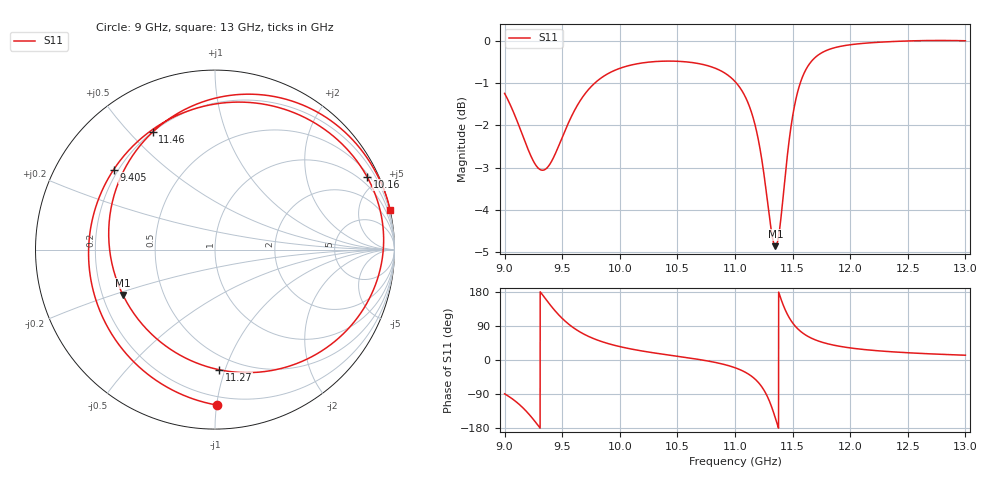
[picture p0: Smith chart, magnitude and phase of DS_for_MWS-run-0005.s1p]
! TOUCHSTONE file generated by CST DESIGN STUDIO
! Date and time: Tue Feb  4 18:32:30 2025
! Project name: C:\Work\MatlabApps\UnitCellOptimizationMatlab\CST\unitcell.cst
! Tree item: Tasks\Sweep1\SPara1\S-Parameters
! Header version: 2024
! Port assignment regex: !\s*Touchstone port\s*([0-9]+)\s*=\s*(CST MWS port|CST DES external port|CST DES block port)\s*(.+)\s* \(\"(.*)\"\)(\s*mode\s*([0-9]+))?.*
! Touchstone port assignment:
! Touchstone port 1 = CST DES external port 1 ("")
# GHz S MA R 50
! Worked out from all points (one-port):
!   4001 points, 9 GHz to 13 GHz, reference 50 ohm
!   lowest |S11| = -4.9 dB at 11.35 GHz (marker M1), VSWR 3.67, Z = 14.3 - j10.7 ohm
!   |S11| at or under -10 dB: nowhere
!   S11 on the Smith chart (normalised r, x): 9 GHz: 0.14, -1.00; 9.405 GHz: 0.18, +0.34; 10.16 GHz: 0.63, +4.32; 11.27 GHz: 0.39, -0.96; 11.46 GHz: 0.20, +0.58; 13 GHz: 0.02, +9.04
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9  0.8663 -89.3
9.132  0.7887 -118.5
9.253  0.7194 -158.1
9.328  0.7031 172.3
9.405  0.7192 141.8
9.5  0.7686 109.8
9.599  0.8232 84.8
9.731  0.8763 61.9
9.854  0.9066 47.5
10  0.9273 35.3
10.159  0.9393 25.6
10.5  0.9453 9.8
10.805  0.9301 -5.0
11  0.8948 -20.4
11.153  0.8147 -45.0
11.211  0.7533 -62.2
11.267  0.6701 -87.9
11.309  0.6043 -116.4
11.351  0.5719 -153.8
11.401  0.6213 159.3
11.459  0.7409 118.0
11.5  0.8139 98.0
11.588  0.9075 71.1
11.686  0.9524 54.5
11.816  0.9762 41.9
12  0.9887 31.9
12.5  0.999 19.1
13  0.9995 12.6
